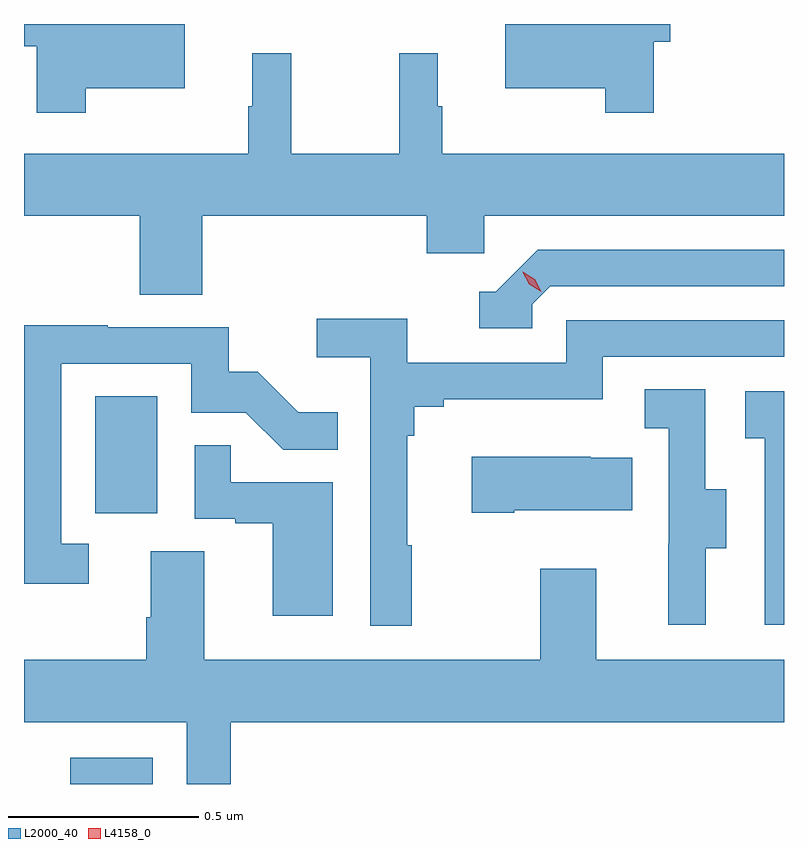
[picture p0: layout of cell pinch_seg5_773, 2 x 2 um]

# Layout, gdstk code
import gdstk
lib = gdstk.Library(unit=1e-6, precision=1e-09)
def R(c, l, rs):  # rectangles x0, y0, x1, y1
    for r in rs: c.add(gdstk.rectangle(r[:2], r[2:], *l))
def P(c, l, *ps):  # polygons
    for p in ps: c.add(gdstk.Polygon(p, *l))
L2000_40 = (2000, 40)
L4158_0 = (4158, 0)

pinch_seg5_773 = lib.new_cell('pinch_seg5_773')
R(pinch_seg5_773, L2000_40, [(832.143,899.221,832.36,899.29), (832.208,899.934,832.372,900.241)])
P(pinch_seg5_773, L2000_40, [(832.183,901.052),(832.444,901.052),(832.444,901.221),(832.021,901.221),(832.021,901.163),(832.054,901.163),(832.054,900.987),(832.183,900.987)],
  [(833.678,901.174),(833.722,901.174),(833.722,901.221),(833.288,901.221),(833.288,901.052),(833.55,901.052),(833.55,900.987),(833.678,900.987)],
  [(833.008,901.144),(833.008,900.88),(832.724,900.88),(832.724,901.144),(832.622,901.144),(832.622,901.004),(832.611,901.004),(832.611,900.88),(832.021,900.88),(832.021,900.716),(832.325,900.716),(832.325,900.508),(832.49,900.508),(832.49,900.716),(833.081,900.716),(833.081,900.618),(833.232,900.618),(833.232,900.716),(834.021,900.716),(834.021,900.88),(833.122,900.88),(833.122,901.004),(833.11,901.004),(833.11,901.144)],
  [(833.358,900.483),(833.406,900.531),(834.021,900.531),(834.021,900.627),(833.373,900.627),(833.262,900.516),(833.219,900.516),(833.219,900.42),(833.358,900.42)],
  [(833.041,899.849),(833.029,899.849),(833.029,900.137),(833.048,900.137),(833.048,900.214),(833.125,900.214),(833.125,900.233),(833.544,900.233),(833.544,900.345),(834.021,900.345),(834.021,900.441),(833.448,900.441),(833.448,900.33),(833.03,900.33),(833.03,900.446),(832.791,900.446),(832.791,900.344),(832.932,900.344),(832.932,899.637),(833.041,899.637)],
  [(832.192,899.853),(832.119,899.853),(832.119,900.327),(832.461,900.327),(832.461,900.198),(832.605,900.198),(832.703,900.1),(832.847,900.1),(832.847,900.199),(832.743,900.199),(832.636,900.306),(832.56,900.306),(832.56,900.423),(832.241,900.423),(832.241,900.428),(832.021,900.428),(832.021,899.748),(832.192,899.748)],
  [(833.815,899.842),(833.869,899.842),(833.869,899.997),(833.814,899.997),(833.814,900.26),(833.655,900.26),(833.655,900.157),(833.718,900.157),(833.718,899.853),(833.717,899.853),(833.717,899.64),(833.815,899.64)],
  [(834.021,900.255),(833.919,900.255),(833.919,900.131),(833.97,900.131),(833.97,899.64),(834.021,899.64)],
  [(832.834,900.015),(832.565,900.015),(832.565,900.113),(832.47,900.113),(832.47,899.919),(832.577,899.919),(832.577,899.907),(832.676,899.907),(832.676,899.664),(832.834,899.664)],
  [(833.311,899.942),(833.621,899.942),(833.621,900.079),(833.513,900.079),(833.513,900.082),(833.199,900.082),(833.199,899.935),(833.311,899.935)],
  [(832.565,899.384),(834.021,899.384),(834.021,899.548),(833.527,899.548),(833.527,899.788),(833.38,899.788),(833.38,899.548),(832.495,899.548),(832.495,899.834),(832.355,899.834),(832.355,899.66),(832.343,899.66),(832.343,899.548),(832.021,899.548),(832.021,899.384),(832.449,899.384),(832.449,899.221),(832.565,899.221)])
P(pinch_seg5_773, L4158_0, [(833.382,900.516),(833.351,900.536),(833.334,900.568),(833.334,900.569),(833.334,900.569),(833.365,900.549),(833.382,900.517),(833.382,900.516)])

lib.write_gds('pinch_seg5_773.gds')
